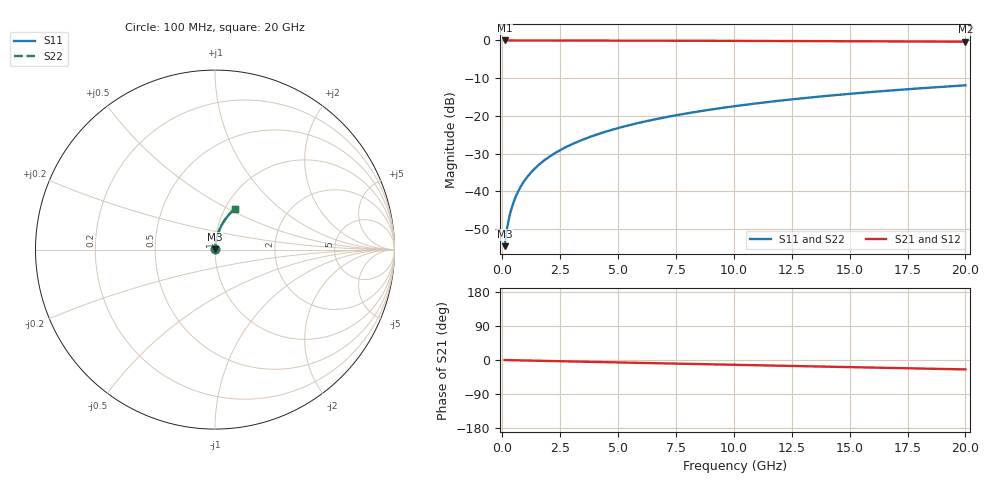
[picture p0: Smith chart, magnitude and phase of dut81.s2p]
! Touchstone file exported from HFSS 2026.1.0
!  File:  C:/ffzhzh/LocalFiles/Ansys_Project_Files/temp_train_TMRDL_81_1782881363_42304.aedt
!  Generated:  12:50:34 PM Jul  1, 2026
!  Design:  TMRDL
!  Project:  temp_train_TMRDL_81_1782881363_42304
! Variables:
!  h_bsmrdl = 2um
!  h_ox = 20um
!  h_rdl = 5um
!  h_sub = 80um
!  h_tmrdl = 5.07um
!  h_tsv = 80um
!  h_via = 3um
!  l_bsmrdl = 300um
!  l_sub = 718.64um
!  l_tmrdl = 318.64um
!  m_sub = 200um
!  pitch = 56.32um
!  r_tsv = 6um
!  s_tmrdl = 10um
!  w_bsmrdl = 18um
!  w_sub = 500um
!  w_tmrdl = 23.22um
!  x_tsv_center1 = 330.25um
!  x_tsv_center2 = 648.25um
!  x_tsv_center3 = 990.11um
!  x_tsv_center4 = 1308.11um
!  x_tsv_center5 = 1649.97um
!  x_tsv_center6 = 1967.97um
# GHz S MA R 50.000000
! Terminal data exported
! Port[1] = TM_RDL1_1_T1
! Port[2] = TM_RDL1_1_T2
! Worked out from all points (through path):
!   200 points, 100 MHz to 20 GHz, reference 50 ohm
!   highest |S21| = -0.01 dB at 100 MHz (marker M1); lowest = -0.3 dB at 20 GHz (marker M2)
!   group delay of S21, straight-line fit = 3.44 ps
!   lowest |S11| = -54.6 dB at 100 MHz (marker M3), VSWR 1.00, Z = 50.1 + j0.15 ohm
!   |S11| at or under -10 dB: start of sweep to end of sweep
!   |S22| runs from -54.6 to -11.9 dB; largest |S21 - S12| = 4.1e-15
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0.1  0.00187 53.2  0.9989 -0.1  0.9989 -0.1  0.00187 53.2
! Gamma 0 0 0 0
! Port Impedance 50 0 50 0
0.2  0.00316 69.6  0.9988 -0.3  0.9988 -0.3  0.003156 69.6
0.3  0.004538 76.0  0.9987 -0.4  0.9987 -0.4  0.00453 76.0
0.4  0.005937 79.1  0.9987 -0.5  0.9987 -0.5  0.005927 79.1
0.5  0.007345 80.9  0.9986 -0.7  0.9986 -0.7  0.007333 80.9
0.7  0.01017 82.7  0.9986 -0.9  0.9986 -0.9  0.01015 82.7
0.8  0.01157 83.2  0.9985 -1.0  0.9985 -1.0  0.01156 83.2
1  0.01439 83.7  0.9985 -1.3  0.9985 -1.3  0.01437 83.7
1.2  0.01718 84.0  0.9984 -1.6  0.9984 -1.6  0.01717 84.0
1.4  0.01997 84.0  0.9983 -1.8  0.9983 -1.8  0.01996 84.1
1.7  0.02412 84.0  0.9981 -2.2  0.9981 -2.2  0.02411 84.0
2  0.02825 83.9  0.9979 -2.6  0.9979 -2.6  0.02824 83.9
2.7  0.03781 83.4  0.9973 -3.5  0.9973 -3.5  0.03781 83.4
3.5  0.04865 82.7  0.9965 -4.5  0.9965 -4.5  0.04865 82.7
4.2  0.05807 82.0  0.9957 -5.4  0.9957 -5.4  0.05807 82.0
5  0.06876 81.2  0.9947 -6.4  0.9947 -6.4  0.06876 81.1
6.8  0.09254 79.1  0.9922 -8.7  0.9922 -8.7  0.09254 79.1
8.3  0.1121 77.4  0.9898 -10.6  0.9898 -10.6  0.1121 77.4
10.1  0.1351 75.4  0.9865 -12.8  0.9865 -12.8  0.1351 75.4
13.4  0.1764 71.5  0.9794 -16.9  0.9794 -16.9  0.1764 71.5
16.7  0.216 67.7  0.971 -20.9  0.971 -20.9  0.216 67.7
20  0.2538 63.9  0.9614 -24.8  0.9614 -24.8  0.2538 63.9
